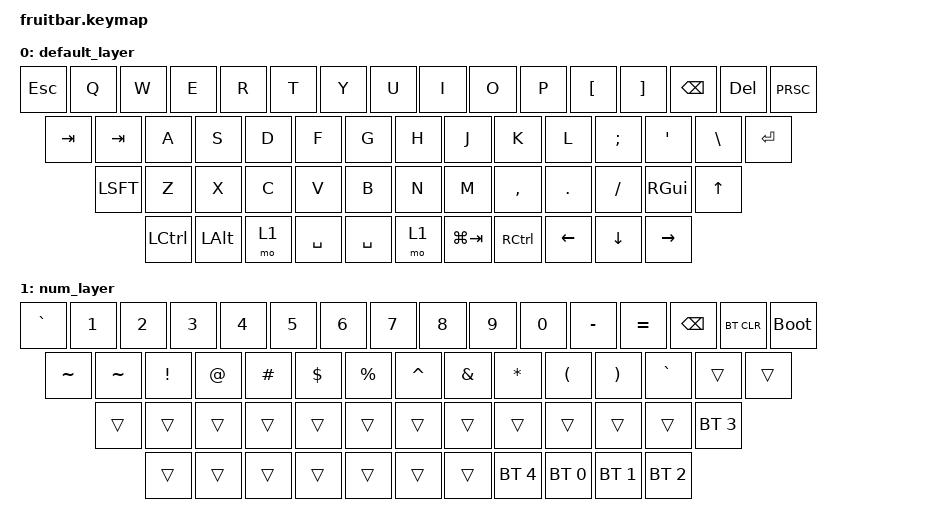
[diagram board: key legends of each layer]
#include <behaviors.dtsi>
#include <dt-bindings/zmk/keys.h>
#include <dt-bindings/zmk/rgb.h>
#include <dt-bindings/zmk/bt.h>
#include <dt-bindings/zmk/outputs.h>
#include <dt-bindings/zmk/ext_power.h>

/ {
	keymap {
		compatible = "zmk,keymap";
		
		default_layer {
			bindings = <
	&kp ESC  &kp   Q   &kp   W   &kp   E   &kp   R   &kp   T   &kp   Y   &kp   U   &kp   I   &kp   O   &kp   P   &kp LBKT &kp RBKT &kp BSPC                         &kp DEL &kp PRSC 
	&kp TAB &kp TAB &kp   A   &kp   S   &kp   D   &kp   F   &kp   G   &kp   H   &kp   J   &kp   K   &kp   L   &kp  SCLN  &kp  QUOT  &kp BSLH  &kp RET
	&kp LSFT   &kp   Z   &kp   X   &kp   C   &kp   V   &kp   B   &kp   N   &kp   M   &kp   COMMA   &kp   DOT   &kp   FSLH           &kp RGUI                            &kp UP       
	&kp LCTL &kp LALT  &mo 1     &kp SPC &kp SPC                  &mo 1      &kp LG(TAB)  &kp RCTL                                                            &kp LEFT &kp DOWN &kp RIGHT 
			>;
		};

		num_layer {
			bindings = <
	&kp GRAVE  &kp N1 &kp N2  &kp N3 &kp N4 &kp N5 &kp N6 &kp N7 &kp N8 &kp N9 &kp N0 &kp MINUS &kp EQUAL &kp BSPC    &bt BT_CLR &bootloader 
	&kp TILDE &kp TILDE &kp EXCL  &kp AT  &kp HASH &kp DLLR &kp PRCNT &kp CARET &kp AMPS &kp STAR  &kp LPAR  &kp  RPAR &kp GRAVE &trans &trans
	&trans &trans &trans &trans &trans &trans &trans &trans &trans &trans &trans &trans                                      &bt BT_SEL 3
	&trans &trans &trans &trans &trans &trans &trans    &bt BT_SEL 4                                           &bt BT_SEL 0  &bt BT_SEL 1 &bt BT_SEL 2
			>;
		};
	};
};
